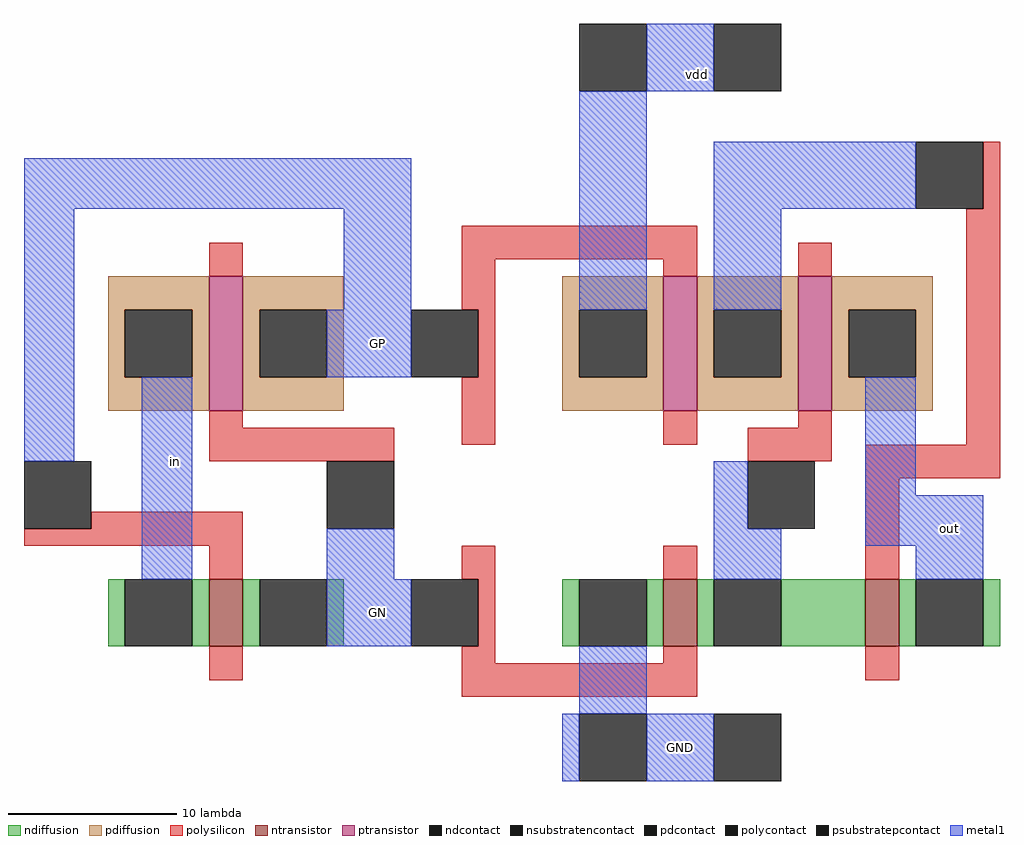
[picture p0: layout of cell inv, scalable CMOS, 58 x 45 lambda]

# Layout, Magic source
magic
tech scmos
<< polysilicon >>
rect 25 34 26 38
rect -21 30 -19 32
rect -6 31 8 33
rect -6 28 -4 31
rect 6 30 8 31
rect 14 30 16 32
rect -5 24 -4 28
rect -21 21 -19 22
rect -21 19 -10 21
rect -6 20 -4 24
rect 6 20 8 22
rect 14 21 16 22
rect -28 15 -19 16
rect 11 19 16 21
rect 24 20 26 34
rect 18 18 26 20
rect -32 14 -19 15
rect -21 12 -19 14
rect -6 12 -4 14
rect 6 12 8 14
rect 18 12 20 18
rect -5 8 -4 12
rect -21 6 -19 8
rect -6 7 -4 8
rect 6 7 8 8
rect -6 5 8 7
rect 18 6 20 8
<< ndiffusion >>
rect -27 8 -26 12
rect -22 8 -21 12
rect -19 8 -18 12
rect -14 8 -13 12
rect 0 8 1 12
rect 5 8 6 12
rect 8 8 9 12
rect 13 8 18 12
rect 20 8 21 12
rect 25 8 26 12
<< pdiffusion >>
rect -27 28 -21 30
rect -27 24 -26 28
rect -22 24 -21 28
rect -27 22 -21 24
rect -19 28 -13 30
rect -19 24 -18 28
rect -14 24 -13 28
rect -19 22 -13 24
rect 0 28 6 30
rect 0 24 1 28
rect 5 24 6 28
rect 0 22 6 24
rect 8 28 14 30
rect 8 24 9 28
rect 13 24 14 28
rect 8 22 14 24
rect 16 28 22 30
rect 16 24 17 28
rect 21 24 22 28
rect 16 22 22 24
<< metal1 >>
rect 5 41 9 45
rect -32 34 -9 37
rect -32 19 -29 34
rect -13 28 -9 34
rect 1 28 5 41
rect -14 24 -9 28
rect 9 34 21 38
rect 9 28 13 34
rect -25 12 -22 24
rect -14 12 -10 15
rect 9 15 11 19
rect 18 17 21 24
rect 9 12 13 15
rect 18 14 25 17
rect -14 8 -9 12
rect 21 12 25 14
rect 1 4 5 8
rect 0 0 1 4
rect 5 0 9 4
<< ntransistor >>
rect -21 8 -19 12
rect 6 8 8 12
rect 18 8 20 12
<< ptransistor >>
rect -21 22 -19 30
rect 6 22 8 30
rect 14 22 16 30
<< polycontact >>
rect 21 34 25 38
rect -9 24 -5 28
rect -32 15 -28 19
rect -14 15 -10 19
rect 11 15 15 19
rect -9 8 -5 12
<< ndcontact >>
rect -26 8 -22 12
rect -18 8 -14 12
rect 1 8 5 12
rect 9 8 13 12
rect 21 8 25 12
<< pdcontact >>
rect -26 24 -22 28
rect -18 24 -14 28
rect 1 24 5 28
rect 9 24 13 28
rect 17 24 21 28
<< psubstratepcontact >>
rect 1 0 5 4
rect 9 0 13 4
<< nsubstratencontact >>
rect 1 41 5 45
rect 9 41 13 45
<< labels >>
rlabel metal1 7 2 7 2 1 GND
rlabel metal1 -11 26 -11 26 1 GP
rlabel metal1 -11 10 -11 10 1 GN
rlabel metal1 -23 19 -23 19 1 in
rlabel metal1 8 42 8 42 5 vdd
rlabel metal1 23 15 23 15 7 out
<< end >>
